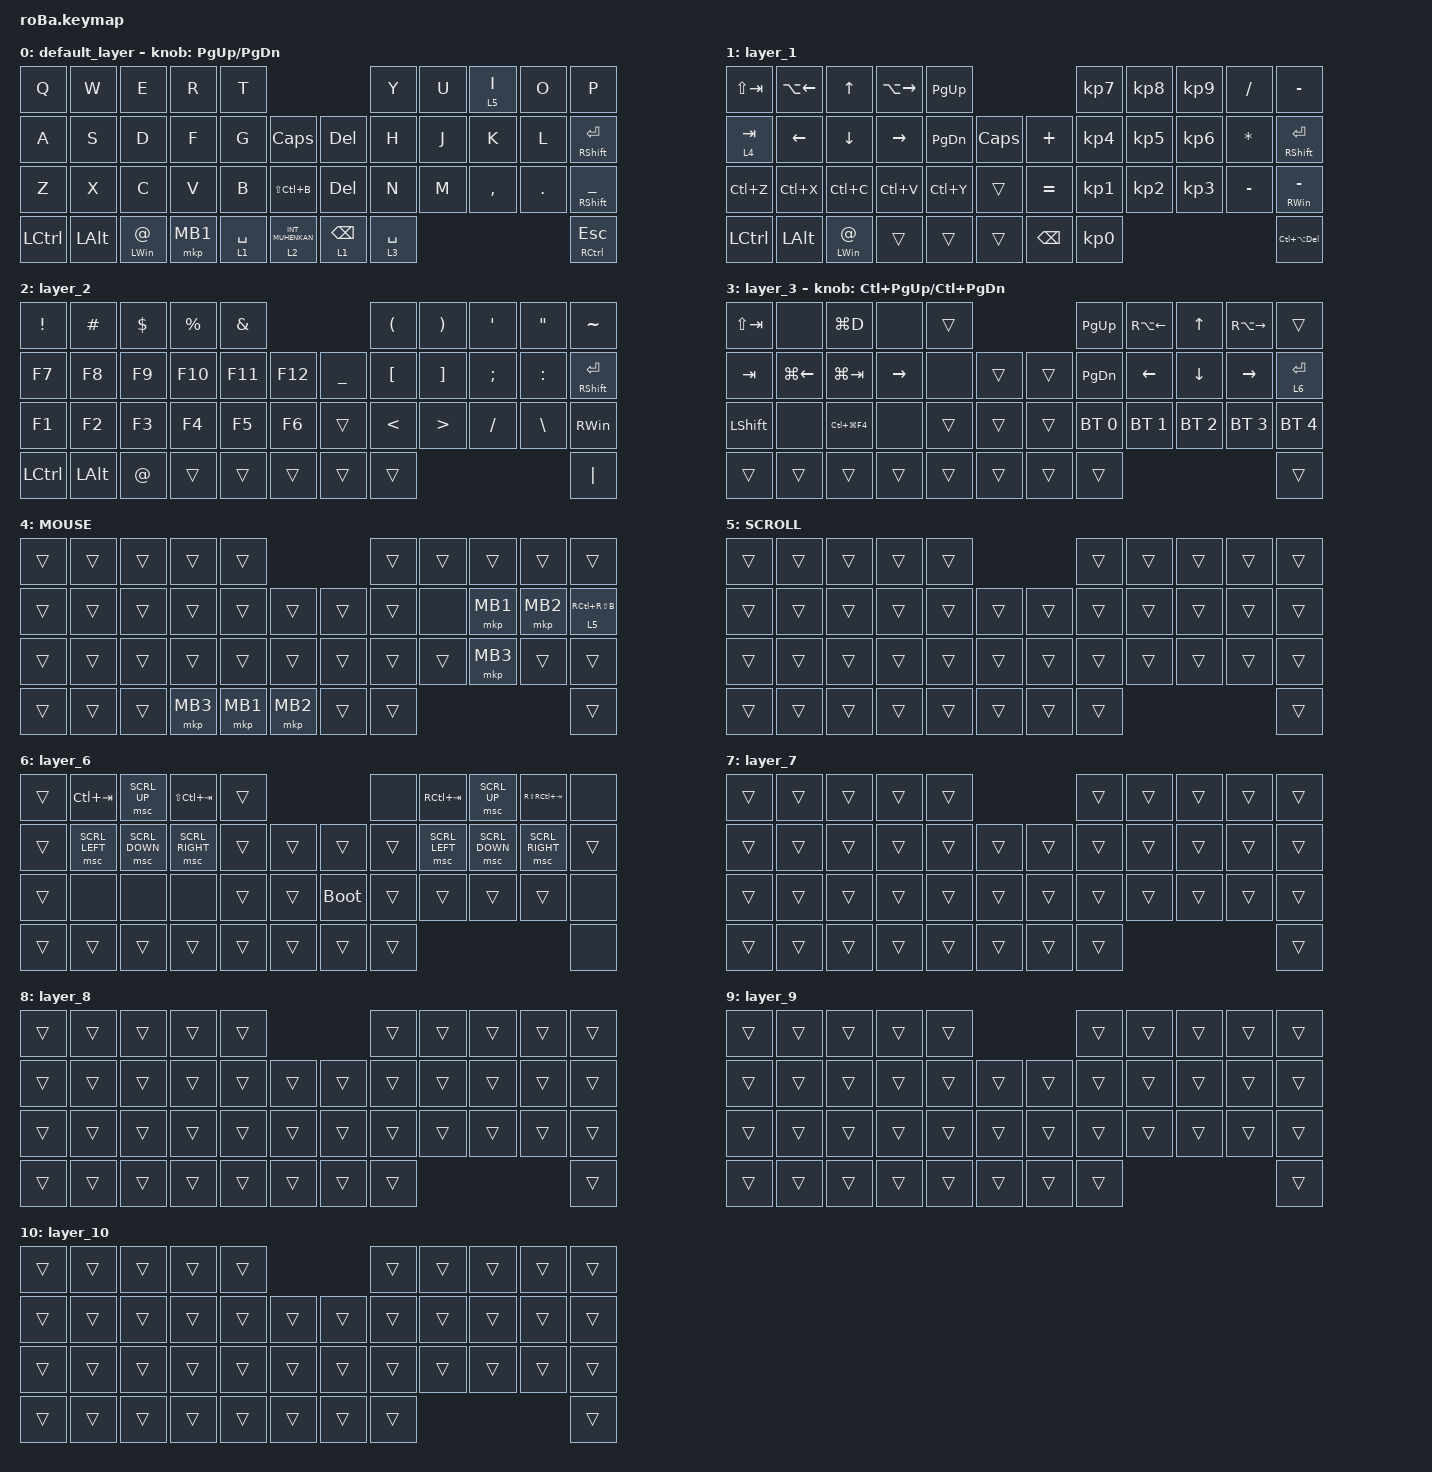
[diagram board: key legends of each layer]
#include <behaviors.dtsi>
#include <dt-bindings/zmk/bt.h>
#include <dt-bindings/zmk/keys.h>
#include <dt-bindings/zmk/pointing.h>

&mt {
    flavor = "balanced";
    quick-tap-ms = <0>;
};

&trackball {
    automouse-layer = <4>;
    scroll-layers = <5>;

    // arrows {
    //     layers = <3>;
    //     bindings =
    //         <&kp RIGHT_ARROW>,
    //         <&kp LEFT_ARROW>,
    //         <&kp UP_ARROW>,
    //         <&kp DOWN_ARROW>;
    //     tick = <10>;
    //     wait-ms = <5>;
    //     tap-ms = <5>;
    // };
};

/ {
    combos {
        compatible = "zmk,combos";

        tab {
            bindings = <&kp TAB>;
            key-positions = <11 12>;
        };

        shift_tab {
            bindings = <&kp LS(TAB)>;
            key-positions = <12 13>;
        };

        muhennkann {
            bindings = <&to_layer_0 INT_MUHENKAN>;
            key-positions = <11 10>;
        };

        double_quotation {
            bindings = <&kp DOUBLE_QUOTES>;
            key-positions = <20 21>;
        };

        eq {
            bindings = <&kp EQUAL>;
            key-positions = <24 25>;
        };
    };

    macros {
        to_layer_0: to_layer_0 {
            compatible = "zmk,behavior-macro-one-param";
            #binding-cells = <1>;
            bindings = <&to 0 &macro_param_1to1 &kp MACRO_PLACEHOLDER>;
            label = "TO_LAYER_0";
        };
    };

    behaviors {
        lt_to_layer_0: lt_to_layer_0 {
            compatible = "zmk,behavior-hold-tap";
            label = "LAYER_TAP_TO_0";
            bindings = <&mo>, <&to_layer_0>;

            #binding-cells = <2>;
            tapping-term-ms = <200>;
        };
    };

    keymap {
        compatible = "zmk,keymap";

        default_layer {
            bindings = <
&kp Q      &kp W         &kp E                 &kp R     &kp T                                                 &kp Y        &kp U  &lt 5 I    &kp O    &kp P
&kp A      &kp S         &kp D                 &kp F     &kp G        &kp CAPS                &kp DELETE       &kp H        &kp J  &kp K      &kp L    &mt RIGHT_SHIFT ENTER
&kp Z      &kp X         &kp C                 &kp V     &kp B        &kp LS(LC(B))           &kp DELETE       &kp N        &kp M  &kp COMMA  &kp DOT  &mt RIGHT_SHIFT UNDER
&kp LCTRL  &kp LEFT_ALT  &mt LEFT_WIN AT_SIGN  &mkp MB1  &lt 1 SPACE  &lt 2 INT_MUHENKAN      &lt 1 BACKSPACE  &lt 3 SPACE                             &mt RCTRL ESCAPE
            >;

            sensor-bindings = <&inc_dec_kp PG_UP PAGE_DOWN>;
        };

        layer_1 {
            bindings = <
&kp LS(TAB)  &kp LA(LEFT)    &kp UP                &kp LA(RIGHT)    &kp PG_UP                               &kp KP_NUMBER_7  &kp KP_NUMBER_8  &kp KP_NUMBER_9  &kp SLASH     &kp MINUS
&lt 4 TAB    &kp LEFT_ARROW  &kp DOWN_ARROW        &kp RIGHT_ARROW  &kp PG_DN  &kp CAPS      &kp PLUS       &kp KP_NUMBER_4  &kp KP_NUMBER_5  &kp KP_NUMBER_6  &kp ASTERISK  &mt RIGHT_SHIFT ENTER
&kp LC(Z)    &kp LC(X)       &kp LC(C)             &kp LC(V)        &kp LC(Y)  &trans        &kp EQUAL      &kp KP_NUMBER_1  &kp KP_NUMBER_2  &kp KP_NUMBER_3  &kp MINUS     &mt RIGHT_WIN MINUS
&kp LCTRL    &kp LEFT_ALT    &mt LEFT_WIN AT_SIGN  &trans           &trans     &trans        &kp BACKSPACE  &kp KP_NUMBER_0                                                  &kp LC(LA(DELETE))
            >;
        };

        layer_2 {
            bindings = <
&kp EXCLAMATION  &kp HASH  &kp DOLLAR   &kp PERCENT  &kp AMPERSAND                               &kp LEFT_PARENTHESIS  &kp RIGHT_PARENTHESIS  &kp SQT        &kp DOUBLE_QUOTES  &kp TILDE
&kp F7           &kp F8    &kp F9       &kp F10      &kp F11        &kp F12      &kp UNDERSCORE  &kp LEFT_BRACKET      &kp RIGHT_BRACKET      &kp SEMICOLON  &kp COLON          &mt RIGHT_SHIFT ENTER
&kp F1           &kp F2    &kp F3       &kp F4       &kp F5         &kp F6       &trans          &kp LESS_THAN         &kp GREATER_THAN       &kp SLASH      &kp BACKSLASH      &kp RIGHT_WIN
&kp LCTRL        &kp LALT  &kp AT_SIGN  &trans       &trans         &trans       &trans          &trans                                                                         &kp PIPE
            >;
        };

        layer_3 {
            bindings = <
&kp LS(TAB)     &none               &kp LG(D)       &none            &trans                      &kp PG_UP     &kp RA(LEFT_ARROW)  &kp UP_ARROW    &kp RA(RIGHT_ARROW)  &trans
&kp TAB         &kp LG(LEFT_ARROW)  &kp LG(TAB)     &kp RIGHT_ARROW  &none   &trans      &trans  &kp PG_DN     &kp LEFT            &kp DOWN_ARROW  &kp RIGHT            &lt 6 ENTER
&kp LEFT_SHIFT  &none               &kp LC(LG(F4))  &none            &trans  &trans      &trans  &bt BT_SEL 0  &bt BT_SEL 1        &bt BT_SEL 2    &bt BT_SEL 3         &bt BT_SEL 4
&trans          &trans              &trans          &trans           &trans  &trans      &trans  &trans                                                                 &trans
            >;

            sensor-bindings = <&inc_dec_kp LC(PAGE_UP) LC(PAGE_DOWN)>;
        };

        MOUSE {
            bindings = <
&trans  &trans  &trans  &trans    &trans                          &trans  &trans  &trans    &trans    &trans
&trans  &trans  &trans  &trans    &trans    &trans        &trans  &trans  &none   &mkp MB1  &mkp MB2  &lt 5 RC(RS(B))
&trans  &trans  &trans  &trans    &trans    &trans        &trans  &trans  &trans  &mkp MB3  &trans    &trans
&trans  &trans  &trans  &mkp MB3  &mkp MB1  &mkp MB2      &trans  &trans                              &trans
            >;
        };

        SCROLL {
            bindings = <
&trans  &trans  &trans  &trans  &trans                      &trans  &trans  &trans  &trans  &trans
&trans  &trans  &trans  &trans  &trans  &trans      &trans  &trans  &trans  &trans  &trans  &trans
&trans  &trans  &trans  &trans  &trans  &trans      &trans  &trans  &trans  &trans  &trans  &trans
&trans  &trans  &trans  &trans  &trans  &trans      &trans  &trans                          &trans
            >;
        };

        layer_6 {
            bindings = <
&trans  &kp LC(TAB)     &msc SCRL_UP    &kp LS(LC(TAB))  &trans                           &none   &kp RC(TAB)     &msc SCRL_UP    &kp RS(RC(TAB))  &none
&trans  &msc SCRL_LEFT  &msc SCRL_DOWN  &msc SCRL_RIGHT  &trans  &trans      &trans       &trans  &msc SCRL_LEFT  &msc SCRL_DOWN  &msc SCRL_RIGHT  &trans
&trans  &none           &none           &none            &trans  &trans      &bootloader  &trans  &trans          &trans          &trans           &none
&trans  &trans          &trans          &trans           &trans  &trans      &trans       &trans                                                   &none
            >;
        };

        layer_7 {
            bindings = <
&trans  &trans  &trans  &trans  &trans                      &trans  &trans  &trans  &trans  &trans
&trans  &trans  &trans  &trans  &trans  &trans      &trans  &trans  &trans  &trans  &trans  &trans
&trans  &trans  &trans  &trans  &trans  &trans      &trans  &trans  &trans  &trans  &trans  &trans
&trans  &trans  &trans  &trans  &trans  &trans      &trans  &trans                          &trans
            >;
        };

        layer_8 {
            bindings = <
&trans  &trans  &trans  &trans  &trans                      &trans  &trans  &trans  &trans  &trans
&trans  &trans  &trans  &trans  &trans  &trans      &trans  &trans  &trans  &trans  &trans  &trans
&trans  &trans  &trans  &trans  &trans  &trans      &trans  &trans  &trans  &trans  &trans  &trans
&trans  &trans  &trans  &trans  &trans  &trans      &trans  &trans                          &trans
            >;
        };

        layer_9 {
            bindings = <
&trans  &trans  &trans  &trans  &trans                      &trans  &trans  &trans  &trans  &trans
&trans  &trans  &trans  &trans  &trans  &trans      &trans  &trans  &trans  &trans  &trans  &trans
&trans  &trans  &trans  &trans  &trans  &trans      &trans  &trans  &trans  &trans  &trans  &trans
&trans  &trans  &trans  &trans  &trans  &trans      &trans  &trans                          &trans
            >;
        };

        layer_10 {
            bindings = <
&trans  &trans  &trans  &trans  &trans                      &trans  &trans  &trans  &trans  &trans
&trans  &trans  &trans  &trans  &trans  &trans      &trans  &trans  &trans  &trans  &trans  &trans
&trans  &trans  &trans  &trans  &trans  &trans      &trans  &trans  &trans  &trans  &trans  &trans
&trans  &trans  &trans  &trans  &trans  &trans      &trans  &trans                          &trans
            >;
        };
    };
};
